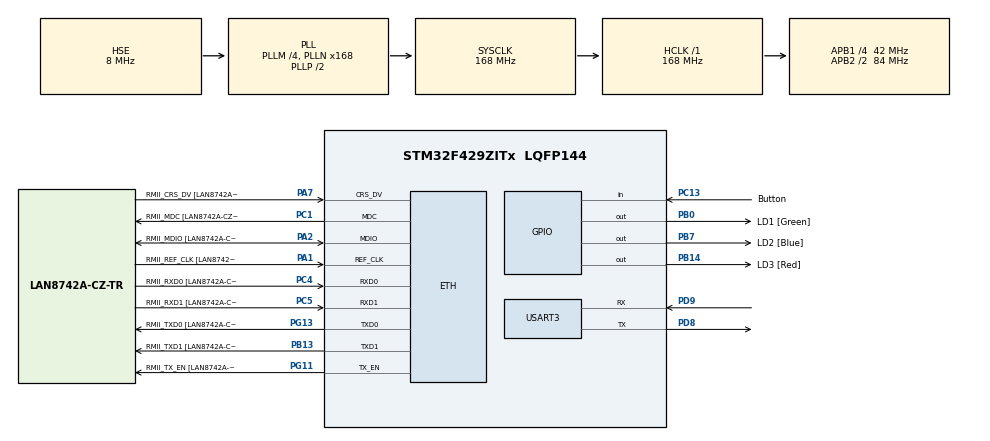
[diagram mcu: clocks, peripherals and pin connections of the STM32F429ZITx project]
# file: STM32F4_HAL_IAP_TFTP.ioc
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ETH.MediaInterface=HAL_ETH_RMII_MODE
ETH.PHY_Name=LAN8742A_PHY_ADDRESS
ETH.PHY_Value=0
ETH.PhyAddress=0
LWIP.BSP.number=1
LWIP.CHECKSUM_CHECK_ICMP=0
LWIP.CHECKSUM_GEN_ICMP=0
LWIP.GATEWAY_ADDRESS=192.168.001.001
LWIP.IP_ADDRESS=192.168.001.111
LWIP.LWIP_DHCP=0
LWIP.LWIP_RAM_HEAP_POINTER=0x20003000
LWIP.MEM_SIZE=2048
LWIP.NETMASK_ADDRESS=255.255.255.000
LWIP.Version=v2.1.2_Cube
LWIP0.BSP.STBoard=false
LWIP0.BSP.api=BSP_COMPONENT_DRIVER
LWIP0.BSP.component=LAN8742
LWIP0.BSP.i2caddr=0
LWIP0.BSP.instance=LAN8742
LWIP0.BSP.name=Driver_PHY
LWIP0.BSP.semaphore=S_LAN8742
LWIP0.BSP.solution=LAN8742
Mcu.Family=STM32F4
Mcu.Name=STM32F429ZITx
Mcu.Package=LQFP144
NVIC.PriorityGroup=NVIC_PRIORITYGROUP_4
PA1.GPIO_Label=RMII_REF_CLK [LAN8742A-CZ-TR_REFCLK0]
PA1.Mode=RMII
PA1.Signal=ETH_REF_CLK
PA13.GPIO_Label=TMS
PA13.Mode=Serial_Wire
PA13.Signal=SYS_JTMS-SWDIO
PA14.GPIO_Label=TCK
PA14.Mode=Serial_Wire
PA14.Signal=SYS_JTCK-SWCLK
PA2.GPIO_Label=RMII_MDIO [LAN8742A-CZ-TR_MDIO]
PA2.Mode=RMII
PA2.Signal=ETH_MDIO
PA7.GPIO_Label=RMII_CRS_DV [LAN8742A-CZ-TR_CRS_DV]
PA7.Mode=RMII
PA7.Signal=ETH_CRS_DV
PB0.GPIO_Label=LD1 [Green]
PB0.Signal=GPIO_Output
PB13.GPIO_Label=RMII_TXD1 [LAN8742A-CZ-TR_TXD1]
PB13.Mode=RMII
PB13.Signal=ETH_TXD1
PB14.GPIO_Label=LD3 [Red]
PB14.Signal=GPIO_Output
PB7.GPIO_Label=LD2 [Blue]
PB7.Signal=GPIO_Output
PC1.GPIO_Label=RMII_MDC [LAN8742A-CZ-TR_MDC]
PC1.Mode=RMII
PC1.Signal=ETH_MDC
PC13.GPIO_Label=Button
PC13.Signal=GPIO_Input
PC14/OSC32_IN.Signal=RCC_OSC32_IN
PC15/OSC32_OUT.Signal=RCC_OSC32_OUT
PC4.GPIO_Label=RMII_RXD0 [LAN8742A-CZ-TR_RXD0]
PC4.Mode=RMII
PC4.Signal=ETH_RXD0
PC5.GPIO_Label=RMII_RXD1 [LAN8742A-CZ-TR_RXD1]
PC5.Mode=RMII
PC5.Signal=ETH_RXD1
PD8.Mode=Asynchronous
PD8.Signal=USART3_TX
PD9.Mode=Asynchronous
PD9.Signal=USART3_RX
PG11.GPIO_Label=RMII_TX_EN [LAN8742A-CZ-TR_TXEN]
PG11.Mode=RMII
PG11.Signal=ETH_TX_EN
PG13.GPIO_Label=RMII_TXD0 [LAN8742A-CZ-TR_TXD0]
PG13.Mode=RMII
PG13.Signal=ETH_TXD0
PH0/OSC_IN.GPIO_Label=MCO [STM32F103CBT6_PA8]
PH0/OSC_IN.Mode=HSE-External-Oscillator
PH0/OSC_IN.Signal=RCC_OSC_IN
PH1/OSC_OUT.Mode=HSE-External-Oscillator
PH1/OSC_OUT.Signal=RCC_OSC_OUT
ProjectManager.HeapSize=0x1000
ProjectManager.StackSize=0x1000
ProjectManager.TargetToolchain=STM32CubeIDE
RCC.48MHZClocksFreq_Value=48000000
RCC.AHBFreq_Value=168000000
RCC.APB1CLKDivider=RCC_HCLK_DIV4
RCC.APB1Freq_Value=42000000
RCC.APB1TimFreq_Value=84000000
RCC.APB2CLKDivider=RCC_HCLK_DIV2
RCC.APB2Freq_Value=84000000
RCC.APB2TimCLKDivider=2
RCC.APB2TimFreq_Value=168000000
RCC.CortexFreq_Value=168000000
RCC.HCLKFreq_Value=168000000
RCC.HSE_VALUE=8000000
RCC.HSI_VALUE=16000000
RCC.LSE_VALUE=32768
RCC.PLLM=4
RCC.PLLMUL=RCC_PLL_MUL9
RCC.PLLN=168
RCC.PLLQ=7
RCC.PLLSourceVirtual=RCC_PLLSOURCE_HSE
RCC.PRESCALERUSB=RCC_USBCLKSOURCE_PLL_DIV1_5
RCC.SYSCLKFreq_VALUE=168000000
RCC.SYSCLKSource=RCC_SYSCLKSOURCE_PLLCLK
RCC.SYSCLKSourceVirtual=RCC_SYSCLKSOURCE_PLLCLK
RCC.USBFreq_Value=48000000
RCC.VCOOutputFreq_Value=336000000
USART3.VirtualMode=VM_ASYNC
VP_LWIP_VS_Enabled.Mode=Enabled
board=NUCLEO-F429ZI

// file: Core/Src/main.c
/* USER CODE BEGIN Header */
/**
 ******************************************************************************
 * @file           : main.c
 * @brief          : Main program body
 ******************************************************************************
 * @attention
 *
 * Copyright (c) 2022 STMicroelectronics.
 * All rights reserved.
 *
 * This software is licensed under terms that can be found in the LICENSE file
 * in the root directory of this software component.
 * If no LICENSE file comes with this software, it is provided AS-IS.
 *
 ******************************************************************************
 */
/* USER CODE END Header */
#include "main.h"
#include "lwip.h"
#include "usart.h"
#include "gpio.h"

/* USER CODE BEGIN Includes */
#include "tftpserver.h"
/* USER CODE END Includes */

void SystemClock_Config(void);

/* USER CODE BEGIN 0 */

//printf support
int __io_putchar (int ch)
{
	HAL_UART_Transmit(&huart3, (const uint8_t*)&ch, 1, 10);
	return ch;
}

//led counter
uint16_t led_blink_cnt = 0;

//variables for jump
typedef  void (*pFunction)(void);
pFunction Jump_To_Application;
uint32_t JumpAddress;

/* USER CODE END 0 */

int main(void)
{

	/* MCU Configuration--------------------------------------------------------*/

	/* Reset of all peripherals, Initializes the Flash interface and the Systick. */
	HAL_Init();

	/* Configure the system clock */
	SystemClock_Config();

	/* Initialize all configured peripherals */
	MX_GPIO_Init();
	MX_LWIP_Init();
	MX_USART3_UART_Init();
	/* USER CODE BEGIN 2 */

	// check user button is pushed
	printf("checking user button...\r\n");
	if (HAL_GPIO_ReadPin(GPIOC, GPIO_PIN_13) == 0x00)
	{
		/* Check if valid stack address (RAM address) then jump to user application */
		if (((*(__IO uint32_t*)USER_FLASH_FIRST_PAGE_ADDRESS) & 0x2FFF0000 ) == 0x20030000)
		{
			printf("valid stack address! jump to application...\r\n");

			/* Jump to user application */
			JumpAddress = *(__IO uint32_t*) (USER_FLASH_FIRST_PAGE_ADDRESS + 4);
			Jump_To_Application = (pFunction) JumpAddress;
			/* Initialize user application's Stack Pointer */
			__set_MSP(*(__IO uint32_t*) USER_FLASH_FIRST_PAGE_ADDRESS);
			Jump_To_Application();
			/* do nothing */
			while(1);
		}
		else
		{
			printf("invalid stack address! start tftp server...\r\n");
		}
	}

	printf("start tftp server...\r\n");

	// start tftp server
	IAP_tftpd_init();

	/* USER CODE END 2 */

	/* Infinite loop */
	/* USER CODE BEGIN WHILE */
	while (1)
	{
		//handle packets
		MX_LWIP_Process();

		//toggle blue led
		if(0xFFFF == led_blink_cnt) {
			HAL_GPIO_TogglePin(GPIOB, GPIO_PIN_7);
			led_blink_cnt = 0;
		}

		led_blink_cnt++;
		/* USER CODE END WHILE */

	}
}

void SystemClock_Config(void)
{
	RCC_OscInitTypeDef RCC_OscInitStruct = {0};
	RCC_ClkInitTypeDef RCC_ClkInitStruct = {0};

	/** Configure the main internal regulator output voltage
	 */
	__HAL_RCC_PWR_CLK_ENABLE();
	__HAL_PWR_VOLTAGESCALING_CONFIG(PWR_REGULATOR_VOLTAGE_SCALE1);

	/** Initializes the RCC Oscillators according to the specified parameters
	 * in the RCC_OscInitTypeDef structure.
	 */
	RCC_OscInitStruct.OscillatorType = RCC_OSCILLATORTYPE_HSE;
	RCC_OscInitStruct.HSEState = RCC_HSE_ON;
	RCC_OscInitStruct.PLL.PLLState = RCC_PLL_ON;
	RCC_OscInitStruct.PLL.PLLSource = RCC_PLLSOURCE_HSE;
	RCC_OscInitStruct.PLL.PLLM = 4;
	RCC_OscInitStruct.PLL.PLLN = 168;
	RCC_OscInitStruct.PLL.PLLP = RCC_PLLP_DIV2;
	RCC_OscInitStruct.PLL.PLLQ = 7;
	if (HAL_RCC_OscConfig(&RCC_OscInitStruct) != HAL_OK)
	{
		Error_Handler();
	}

	/** Initializes the CPU, AHB and APB buses clocks
	 */
	RCC_ClkInitStruct.ClockType = RCC_CLOCKTYPE_HCLK|RCC_CLOCKTYPE_SYSCLK
			|RCC_CLOCKTYPE_PCLK1|RCC_CLOCKTYPE_PCLK2;
	RCC_ClkInitStruct.SYSCLKSource = RCC_SYSCLKSOURCE_PLLCLK;
	RCC_ClkInitStruct.AHBCLKDivider = RCC_SYSCLK_DIV1;
	RCC_ClkInitStruct.APB1CLKDivider = RCC_HCLK_DIV4;
	RCC_ClkInitStruct.APB2CLKDivider = RCC_HCLK_DIV2;

	if (HAL_RCC_ClockConfig(&RCC_ClkInitStruct, FLASH_LATENCY_5) != HAL_OK)
	{
		Error_Handler();
	}
}

void Error_Handler(void)
{
	__disable_irq();
	while (1)
	{
	}
}
